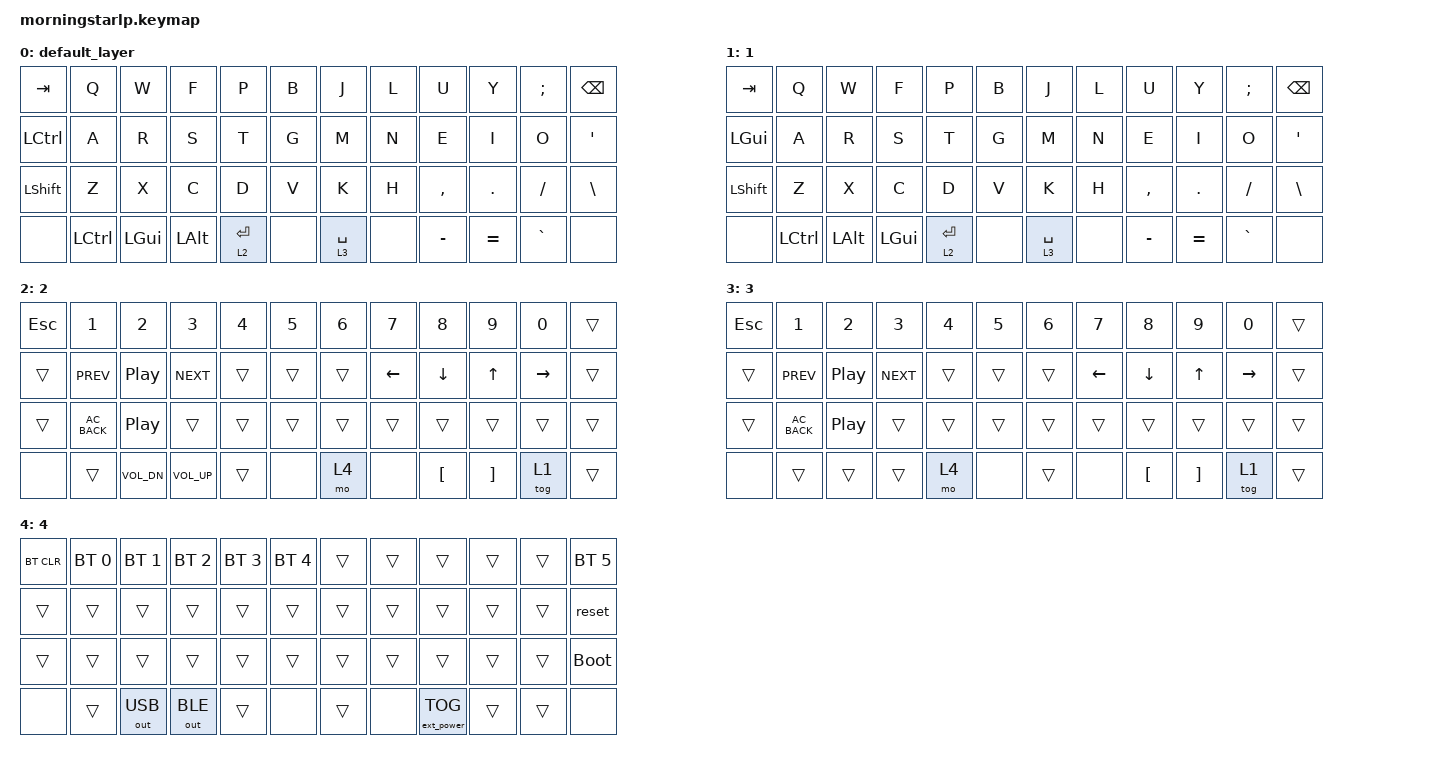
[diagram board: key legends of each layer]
#include <behaviors.dtsi>
#include <dt-bindings/zmk/keys.h>
#include <dt-bindings/zmk/bt.h>
#include <dt-bindings/zmk/outputs.h>
#include <dt-bindings/zmk/ext_power.h>

/ {
    keymap {
        compatible = "zmk,keymap";

        default_layer {
// --------------------------------------------------------------------------------------------------------------------------
// |   TAB   |    Q    |    W    |    F    |    P    |    B    |    J    |    L    |    U    |    Y    |   SEMI  |   BSPC   |
// |  LCTRL  |    A    |    R    |    S    |    T    |    G    |    M    |    N    |    E    |    I    |    O    |   APOS   |
// |  LSHFT  |    Z    |    X    |    C    |    D    |    V    |    K    |    H    |  COMMA  |   DOT   |   FSLH  |   GRAVE  |
// |         |  LCTRL  |  LGUI   |   LALT  |  1/RET  |         | 1/SPACE |         |  MINUS  |  EQUAL  |   BSLH  |   

// NO YES YES YES YES NO | YES NO YES YES YES NO

            bindings = <
    &kp TAB   &kp Q     &kp W     &kp F     &kp P     &kp B     &kp J     &kp L     &kp U     &kp Y     &kp SEMI  &kp BSPC 
    &kp LCTRL &kp A     &kp R     &kp S     &kp T     &kp G     &kp M     &kp N     &kp E     &kp I     &kp O     &kp APOS
    &kp LSHFT &kp Z     &kp X     &kp C     &kp D     &kp V     &kp K     &kp H     &kp COMMA &kp DOT   &kp FSLH  &kp BSLH 
    &none     &kp LCTRL &kp LGUI  &kp LALT  &lt 2 RET &none     &lt 3 SPACE &none   &kp MINUS &kp EQUAL &kp GRAVE  &none
            >;
        };

        1 {
            bindings = <
    &kp TAB   &kp Q     &kp W     &kp F     &kp P     &kp B     &kp J     &kp L     &kp U     &kp Y     &kp SEMI  &kp BSPC 
    &kp LGUI  &kp A     &kp R     &kp S     &kp T     &kp G     &kp M     &kp N     &kp E     &kp I     &kp O     &kp APOS
    &kp LSHFT &kp Z     &kp X     &kp C     &kp D     &kp V     &kp K     &kp H     &kp COMMA &kp DOT   &kp FSLH  &kp BSLH 
    &none     &kp LCTRL &kp LALT  &kp LGUI  &lt 2 RET &none     &lt 3 SPACE &none   &kp MINUS &kp EQUAL &kp GRAVE  &none

            >;
        };

        2 {
            bindings = <
    &kp ESC   &kp N1    &kp N2    &kp N3   &kp N4     &kp N5    &kp N6    &kp N7    &kp N8    &kp N9    &kp N0  &trans
    &trans    &kp C_PREV  &kp C_PP &kp C_NEXT &trans &trans &trans    &kp LEFT  &kp DOWN  &kp UP    &kp RIGHT &trans
    &trans    &kp C_AC_BACK &kp C_PP &trans &trans    &trans    &trans    &trans    &trans    &trans    &trans    &trans
    &none     &trans    &kp C_VOL_DN &kp C_VOL_UP &trans    &none     &mo 4    &none     &kp LBKT  &kp RBKT  &tog 1    &trans 
              >;
        };

        3 {
            bindings = <
    &kp ESC   &kp N1    &kp N2    &kp N3   &kp N4     &kp N5    &kp N6    &kp N7    &kp N8    &kp N9    &kp N0    &trans
    &trans    &kp C_PREV  &kp C_PP &kp C_NEXT &trans &trans &trans    &kp LEFT  &kp DOWN  &kp UP    &kp RIGHT &trans
    &trans    &kp C_AC_BACK &kp C_PP &trans &trans    &trans    &trans    &trans    &trans    &trans    &trans    &trans
    &none     &trans     &trans &trans &mo 4     &none     &trans    &none     &kp LBKT  &kp RBKT  &tog 1    &trans
              >;
        };

       4 {
           bindings = <
   &bt BT_CLR &bt BT_SEL 0 &bt BT_SEL 1 &bt BT_SEL 2 &bt BT_SEL 3 &bt BT_SEL 4 &trans &trans &trans &trans   &trans    &bt BT_SEL 5
   &trans    &trans   &trans   &trans   &trans    &trans    &trans    &trans    &trans    &trans    &trans    &reset
   &trans    &trans   &trans    &trans   &trans    &trans    &trans    &trans    &trans    &trans    &trans    &bootloader
   &none     &trans    &out OUT_USB &out OUT_BLE &trans &none  &trans    &none   &ext_power EP_TOG  &trans    &trans    &none 
             >;
       };

    };
};

//        template {
//            bindings = <
//    &trans    &trans    &trans    &trans    &trans    &trans    &trans    &trans    &trans    &trans    &trans    &trans
//    &trans    &trans    &trans    &trans    &trans    &trans    &trans    &trans    &trans    &trans    &trans    &trans
//    &trans    &trans    &trans    &trans    &trans    &trans    &trans    &trans    &trans    &trans    &trans    &trans
//    &none     &trans    &trans    &trans    &trans    &none     &trans    &none     &trans    &trans    &trans    &none 
//              >;
//        };
